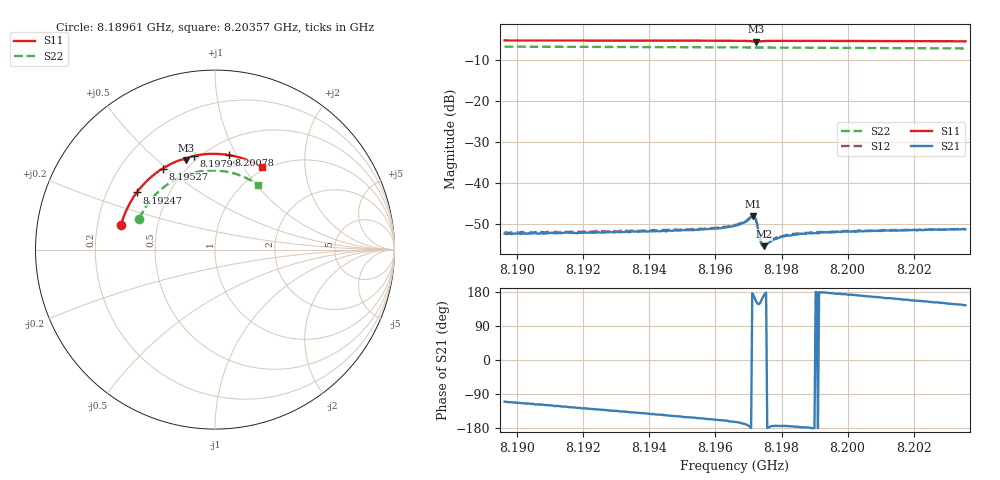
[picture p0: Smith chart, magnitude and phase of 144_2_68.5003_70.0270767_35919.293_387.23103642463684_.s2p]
#  HZ  S  RI  R  50.00
! Rohde & Schwarz Vector Network Analyzer
! Rohde-Schwarz,ZNB20-2Port,1311601062101988,3.16
! Created: UTC 3/20/2024, 4:55:00 PM
! freq[Hz]  re:S11  im:S11  re:S21  im:S21  re:S12  im:S12  re:S22  im:S22
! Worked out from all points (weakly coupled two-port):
!   401 points, 8.18961 GHz to 8.20357 GHz, reference 50 ohm
!   highest |S21| = -48.19 dB at 8.19715 GHz (marker M1); lowest = -55.4 dB at 8.19746 GHz (marker M2)
!   lowest |S11| = -5.6 dB at 8.19722 GHz (marker M3), VSWR 3.19, Z = 22.7 + j31 ohm
!   |S11| at or under -10 dB: nowhere
!   |S22| runs from -7.3 to -6.8 dB; largest |S21 - S12| = 0.00022
!   S11 on the Smith chart (normalised r, x): 8.18961 GHz: 0.30, +0.12; 8.19247 GHz: 0.33, +0.29; 8.19527 GHz: 0.38, +0.48; 8.19799 GHz: 0.47, +0.68; 8.20078 GHz: 0.64, +0.94; 8.20357 GHz: 0.96, +1.22
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8.189613e9  -0.5231 0.1387  -0.000818 -0.00226  -0.000901 -0.00228  -0.4214 0.172
8.19195e9  -0.4567 0.2883  -0.00148 -0.00195  -0.00159 -0.00197  -0.3537 0.2819
8.192474e9  -0.4357 0.3185  -0.00162 -0.00191  -0.00171 -0.0019  -0.3342 0.3038
8.194288e9  -0.3481 0.411  -0.00208 -0.0015  -0.00221 -0.00147  -0.2569 0.3684
8.195265e9  -0.2922 0.4514  -0.00234 -0.00126  -0.00245 -0.00121  -0.2095 0.3954
8.196033e9  -0.2446 0.4781  -0.00259 -0.00105  -0.00268 -0.000976  -0.1703 0.4126
8.196591e9  -0.2075 0.4943  -0.00287 -0.000867  -0.00297 -0.00077  -0.1406 0.4227
8.19687e9  -0.1871 0.5009  -0.00319 -0.000653  -0.00331 -0.000537  -0.1255 0.427
8.19708e9  -0.1699 0.5022  -0.00377 -1.09e-05  -0.00387 0.000191  -0.114 0.4297
8.197149e9  -0.1649 0.5001  -0.00385 0.000612  -0.00389 0.000789  -0.1102 0.4304
8.197219e9  -0.1633 0.4968  -0.0033 0.00138  -0.00328 0.00154  -0.1064 0.4312
8.197254e9  -0.1641 0.4965  -0.0028 0.00156  -0.00278 0.00168  -0.1045 0.4315
8.197359e9  -0.1637 0.5026  -0.00174 0.000961  -0.00172 0.00101  -0.0989 0.4328
8.197394e9  -0.1619 0.5047  -0.00166 0.000655  -0.00166 0.000764  -0.0971 0.4332
8.197463e9  -0.1572 0.5087  -0.00167 0.000284  -0.00168 0.000367  -0.0933 0.4342
8.197777e9  -0.1339 0.518  -0.00203 -0.00021  -0.00209 -9.57e-05  -0.0758 0.437
8.197987e9  -0.1187 0.5218  -0.00217 -0.000228  -0.00222 -0.000168  -0.064 0.4386
8.198406e9  -0.0889 0.5276  -0.00233 -0.000152  -0.00239 -8.08e-05  -0.0405 0.4404
8.198929e9  -0.0518 0.5318  -0.00242 -7.39e-06  -0.00249 0.000121  -0.0108 0.4412
8.200778e9  0.0788 0.5264  -0.00253 0.000608  -0.00254 0.000706  0.093 0.428
8.201267e9  0.1127 0.5197  -0.00251 0.000758  -0.00249 0.000894  0.1198 0.4204
8.20357e9  0.2631 0.4584  -0.00221 0.00157  -0.00218 0.00163  0.2373 0.3612
